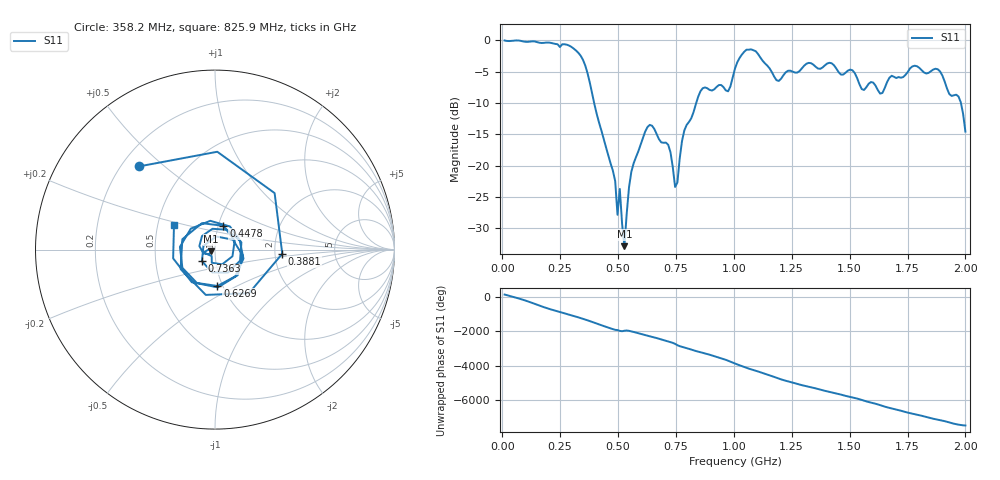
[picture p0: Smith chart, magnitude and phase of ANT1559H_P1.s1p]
!Created with skrf (http://scikit-rf.org).
# Hz S RI R 50.0
!freq ReS11 ImS11
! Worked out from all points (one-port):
!   201 points, 10 MHz to 2 GHz, reference 50 ohm
!   lowest |S11| = -32.8 dB at 527.4 MHz (marker M1), VSWR 1.05, Z = 48 - j0.946 ohm
!   |S11| at or under -10 dB: 396.7 MHz to 837.5 MHz (440.8 MHz wide, 71.4 % of centre); 1.981 GHz to end of sweep
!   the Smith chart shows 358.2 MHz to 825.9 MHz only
!   S11 on the Smith chart (normalised r, x): 358.2 MHz: 0.27, +0.41; 388.1 MHz: 2.19, -0.12; 447.8 MHz: 1.06, +0.29; 626.9 MHz: 0.95, -0.40; 736.4 MHz: 0.86, -0.11; 825.9 MHz: 0.61, +0.18
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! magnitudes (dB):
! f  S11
! 10 MHz  0.0
! 258.8 MHz  -0.7
! 358.2 MHz  -4.0
! 388.1 MHz  -8.5
! 447.8 MHz  -17.0
! 487.6 MHz  -22.5
! 497.6 MHz  -27.8
! 507.5 MHz  -23.7
! 527.4 MHz  -32.8
! 557.2 MHz  -21.0
! 626.9 MHz  -13.8
! 716.5 MHz  -16.7
! 736.4 MHz  -20.2
! 756.2 MHz  -22.7
! 786.1 MHz  -14.4
! 825.9 MHz  -11.5
! 865.7 MHz  -7.7
! 975.1 MHz  -8.1
! 1.005 GHz  -4.5
! 1.075 GHz  -1.5
! 1.184 GHz  -6.4
! 1.254 GHz  -5.0
! 1.502 GHz  -4.7
! 1.632 GHz  -8.5
! 1.751 GHz  -5.1
! 1.891 GHz  -5.0
! 1.97 GHz  -9.0
! 2 GHz  -14.6
